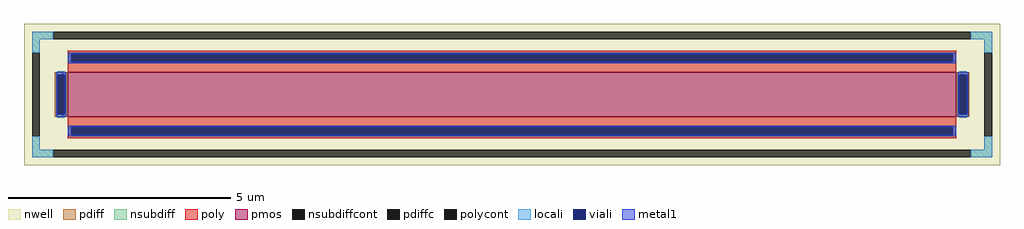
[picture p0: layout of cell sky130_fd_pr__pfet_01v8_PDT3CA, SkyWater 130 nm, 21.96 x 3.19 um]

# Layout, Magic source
magic
tech sky130A
magscale 1 2
<< nwell >>
rect -2196 -319 2196 319
<< pmos >>
rect -2000 -100 2000 100
<< pdiff >>
rect -2058 88 -2000 100
rect -2058 -88 -2046 88
rect -2012 -88 -2000 88
rect -2058 -100 -2000 -88
rect 2000 88 2058 100
rect 2000 -88 2012 88
rect 2046 -88 2058 88
rect 2000 -100 2058 -88
<< pdiffc >>
rect -2046 -88 -2012 88
rect 2012 -88 2046 88
<< nsubdiff >>
rect -2160 249 -2064 283
rect 2064 249 2160 283
rect -2160 187 -2126 249
rect 2126 187 2160 249
rect -2160 -249 -2126 -187
rect 2126 -249 2160 -187
rect -2160 -283 -2064 -249
rect 2064 -283 2160 -249
<< nsubdiffcont >>
rect -2064 249 2064 283
rect -2160 -187 -2126 187
rect 2126 -187 2160 187
rect -2064 -283 2064 -249
<< poly >>
rect -2000 181 2000 197
rect -2000 147 -1984 181
rect 1984 147 2000 181
rect -2000 100 2000 147
rect -2000 -147 2000 -100
rect -2000 -181 -1984 -147
rect 1984 -181 2000 -147
rect -2000 -197 2000 -181
<< polycont >>
rect -1984 147 1984 181
rect -1984 -181 1984 -147
<< locali >>
rect -2160 249 -2064 283
rect 2064 249 2160 283
rect -2160 187 -2126 249
rect 2126 187 2160 249
rect -2000 147 -1984 181
rect 1984 147 2000 181
rect -2046 88 -2012 104
rect -2046 -104 -2012 -88
rect 2012 88 2046 104
rect 2012 -104 2046 -88
rect -2000 -181 -1984 -147
rect 1984 -181 2000 -147
rect -2160 -249 -2126 -187
rect 2126 -249 2160 -187
rect -2160 -283 -2064 -249
rect 2064 -283 2160 -249
<< viali >>
rect -1984 147 1984 181
rect -2046 -88 -2012 88
rect 2012 -88 2046 88
rect -1984 -181 1984 -147
<< metal1 >>
rect -1996 181 1996 187
rect -1996 147 -1984 181
rect 1984 147 1996 181
rect -1996 141 1996 147
rect -2052 88 -2006 100
rect -2052 -88 -2046 88
rect -2012 -88 -2006 88
rect -2052 -100 -2006 -88
rect 2006 88 2052 100
rect 2006 -88 2012 88
rect 2046 -88 2052 88
rect 2006 -100 2052 -88
rect -1996 -147 1996 -141
rect -1996 -181 -1984 -147
rect 1984 -181 1996 -147
rect -1996 -187 1996 -181
<< properties >>
string FIXED_BBOX -2143 -266 2143 266
string gencell sky130_fd_pr__pfet_01v8
string library sky130
string parameters w 1.0 l 20.0 m 1 nf 1 diffcov 100 polycov 100 guard 1 glc 1 grc 1 gtc 1 gbc 1 tbcov 100 rlcov 100 topc 1 botc 1 poverlap 0 doverlap 1 lmin 0.15 wmin 0.42 compatible {sky130_fd_pr__pfet_01v8  sky130_fd_pr__pfet_01v8_lvt sky130_fd_pr__pfet_01v8_hvt  sky130_fd_pr__pfet_g5v0d10v5} full_metal 1 viasrc 100 viadrn 100 viagate 100 viagb 0 viagr 0 viagl 0 viagt 0
<< end >>
